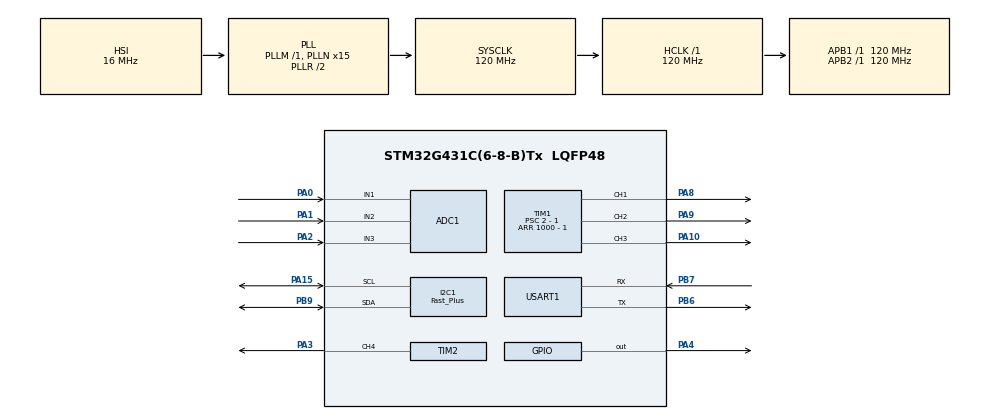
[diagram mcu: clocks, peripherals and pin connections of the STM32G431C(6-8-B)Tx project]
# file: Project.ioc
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ADC1.Channel-0\#ChannelRegularConversion=ADC_CHANNEL_1
ADC1.Channel-1\#ChannelRegularConversion=ADC_CHANNEL_2
ADC1.Channel-2\#ChannelRegularConversion=ADC_CHANNEL_3
ADC1.ClockPrescaler=ADC_CLOCK_SYNC_PCLK_DIV2
ADC1.DMAContinuousRequests=ENABLE
ADC1.EOCSelection=ADC_EOC_SINGLE_CONV
ADC1.ExternalTrigConv=ADC_EXTERNALTRIG_T1_TRGO
ADC1.NbrOfConversion=3
ADC1.NbrOfConversionFlag=1
ADC1.OffsetNumber-0\#ChannelRegularConversion=ADC_OFFSET_NONE
ADC1.OffsetNumber-1\#ChannelRegularConversion=ADC_OFFSET_NONE
ADC1.OffsetNumber-2\#ChannelRegularConversion=ADC_OFFSET_NONE
ADC1.Rank-0\#ChannelRegularConversion=1
ADC1.Rank-1\#ChannelRegularConversion=2
ADC1.Rank-2\#ChannelRegularConversion=3
ADC1.SamplingTime-0\#ChannelRegularConversion=ADC_SAMPLETIME_2CYCLES_5
ADC1.SamplingTime-1\#ChannelRegularConversion=ADC_SAMPLETIME_2CYCLES_5
ADC1.SamplingTime-2\#ChannelRegularConversion=ADC_SAMPLETIME_2CYCLES_5
ADC1.master=1
Dma.ADC1.1.Direction=DMA_PERIPH_TO_MEMORY
Dma.ADC1.1.EventEnable=DISABLE
Dma.ADC1.1.Instance=DMA1_Channel2
Dma.ADC1.1.MemDataAlignment=DMA_MDATAALIGN_WORD
Dma.ADC1.1.MemInc=DMA_MINC_ENABLE
Dma.ADC1.1.Mode=DMA_CIRCULAR
Dma.ADC1.1.PeriphDataAlignment=DMA_PDATAALIGN_WORD
Dma.ADC1.1.PeriphInc=DMA_PINC_DISABLE
Dma.ADC1.1.Polarity=HAL_DMAMUX_REQ_GEN_RISING
Dma.ADC1.1.Priority=DMA_PRIORITY_HIGH
Dma.ADC1.1.RequestNumber=1
Dma.ADC1.1.SignalID=NONE
Dma.ADC1.1.SyncEnable=DISABLE
Dma.ADC1.1.SyncPolarity=HAL_DMAMUX_SYNC_NO_EVENT
Dma.ADC1.1.SyncRequestNumber=1
Dma.ADC1.1.SyncSignalID=NONE
Dma.Request0=USART1_RX
Dma.Request1=ADC1
Dma.USART1_RX.0.Direction=DMA_PERIPH_TO_MEMORY
Dma.USART1_RX.0.EventEnable=DISABLE
Dma.USART1_RX.0.Instance=DMA1_Channel1
Dma.USART1_RX.0.MemDataAlignment=DMA_MDATAALIGN_BYTE
Dma.USART1_RX.0.MemInc=DMA_MINC_ENABLE
Dma.USART1_RX.0.Mode=DMA_CIRCULAR
Dma.USART1_RX.0.PeriphDataAlignment=DMA_PDATAALIGN_BYTE
Dma.USART1_RX.0.PeriphInc=DMA_PINC_DISABLE
Dma.USART1_RX.0.Polarity=HAL_DMAMUX_REQ_GEN_RISING
Dma.USART1_RX.0.Priority=DMA_PRIORITY_MEDIUM
Dma.USART1_RX.0.RequestNumber=1
Dma.USART1_RX.0.SignalID=NONE
Dma.USART1_RX.0.SyncEnable=DISABLE
Dma.USART1_RX.0.SyncPolarity=HAL_DMAMUX_SYNC_NO_EVENT
Dma.USART1_RX.0.SyncRequestNumber=1
Dma.USART1_RX.0.SyncSignalID=NONE
I2C1.I2C_Speed_Mode=I2C_Fast_Plus
I2C1.Timing=0x10820B1B
Mcu.Family=STM32G4
Mcu.Name=STM32G431C(6-8-B)Tx
Mcu.Package=LQFP48
NVIC.DMA1_Channel1_IRQn=true\:0\:0\:false\:false\:true\:false\:true\:true
NVIC.DMA1_Channel2_IRQn=true\:0\:0\:false\:false\:true\:false\:true\:true
NVIC.PriorityGroup=NVIC_PRIORITYGROUP_4
NVIC.TIM3_IRQn=true\:0\:0\:false\:false\:true\:true\:true\:true
NVIC.USART1_IRQn=true\:0\:0\:false\:false\:true\:true\:true\:true
PA0.Mode=IN1-Single-Ended
PA0.Signal=ADC1_IN1
PA1.Mode=IN2-Single-Ended
PA1.Signal=ADC1_IN2
PA10.Signal=S_TIM1_CH3
PA13.Mode=Serial_Wire
PA13.Signal=SYS_JTMS-SWDIO
PA14.Mode=Serial_Wire
PA14.Signal=SYS_JTCK-SWCLK
PA15.Mode=I2C
PA15.Signal=I2C1_SCL
PA2.Mode=IN3-Single-Ended
PA2.Signal=ADC1_IN3
PA3.Signal=S_TIM2_CH4
PA4.Signal=GPIO_Output
PA8.Signal=S_TIM1_CH1
PA9.Signal=S_TIM1_CH2
PB6.Mode=Asynchronous
PB6.Signal=USART1_TX
PB7.Mode=Asynchronous
PB7.Signal=USART1_RX
PB9.Mode=I2C
PB9.Signal=I2C1_SDA
ProjectManager.HeapSize=0x200
ProjectManager.StackSize=0x400
ProjectManager.TargetToolchain=MDK-ARM V5.32
RCC.ADC12Freq_Value=120000000
RCC.AHBFreq_Value=120000000
RCC.APB1Freq_Value=120000000
RCC.APB1TimFreq_Value=120000000
RCC.APB2Freq_Value=120000000
RCC.APB2TimFreq_Value=120000000
RCC.CortexFreq_Value=120000000
RCC.EXTERNAL_CLOCK_VALUE=12288000
RCC.HCLKFreq_Value=120000000
RCC.HSE_VALUE=8000000
RCC.HSI48_VALUE=48000000
RCC.HSI_VALUE=16000000
RCC.LSE_VALUE=32768
RCC.PLLN=15
RCC.SYSCLKFreq_VALUE=120000000
RCC.SYSCLKSource=RCC_SYSCLKSOURCE_PLLCLK
RCC.USBFreq_Value=120000000
RCC.VCOOutputFreq_Value=240000000
SH.S_TIM1_CH1.0=TIM1_CH1,PWM Generation1 CH1
SH.S_TIM1_CH2.0=TIM1_CH2,PWM Generation2 CH2
SH.S_TIM1_CH3.0=TIM1_CH3,PWM Generation3 CH3
SH.S_TIM2_CH4.0=TIM2_CH4,PWM Generation4 CH4
TIM1.Channel-PWM\ Generation1\ CH1=TIM_CHANNEL_1
TIM1.Channel-PWM\ Generation2\ CH2=TIM_CHANNEL_2
TIM1.Channel-PWM\ Generation3\ CH3=TIM_CHANNEL_3
TIM1.CounterMode=TIM_COUNTERMODE_CENTERALIGNED1
TIM1.PeriodNoDither=1000 - 1
TIM1.Prescaler=2 - 1
TIM1.TIM_MasterOutputTrigger=TIM_TRGO_UPDATE
TIM1.TIM_MasterSlaveMode=TIM_MASTERSLAVEMODE_DISABLE
TIM2.Channel-PWM\ Generation4\ CH4=TIM_CHANNEL_4
TIM2.PeriodNoDither=1000 - 1
TIM2.Prescaler=120 - 1
TIM3.PeriodNoDither=1000 - 1
TIM3.Prescaler=120 - 1
USART1.VirtualMode-Asynchronous=VM_ASYNC
VP_SYS_VS_DBSignals.Mode=DisableDeadBatterySignals
VP_TIM1_VS_ClockSourceINT.Mode=Internal
VP_TIM2_VS_ClockSourceINT.Mode=Internal
VP_TIM3_VS_ClockSourceINT.Mode=Internal
board=custom

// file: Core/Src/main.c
/* USER CODE BEGIN Header */
/**
  ******************************************************************************
  * @file           : main.c
  * @brief          : Main program body
  速度测量和滤波
  ******************************************************************************
  * @attention
  *
  * Copyright (c) 2026 STMicroelectronics.
  * All rights reserved.
  *
  * This software is licensed under terms that can be found in the LICENSE file
  * in the root directory of this software component.
  * If no LICENSE file comes with this software, it is provided AS-IS.
  *
  ******************************************************************************
  */
/* USER CODE END Header */
#include "main.h"
#include "adc.h"
#include "dma.h"
#include "i2c.h"
#include "tim.h"
#include "usart.h"
#include "gpio.h"

/* USER CODE BEGIN Includes */
#include <math.h>
#include "Driver.h"
#include "Encoder.h"
#include "Serial.h"
#include "PID.h"
#include "Beep.h"
#include "CurrentMeasure.h"
#include "Filter.h"

/* USER CODE END Includes */

void SystemClock_Config(void);

/* USER CODE BEGIN 0 */
float *rightangledCurrent, *phaseCurrent;
float I_d_actual, I_q_actual;
PID pid_I_d, pid_I_q;  // 电流环
float Kp = 6.0f, Ki = 0.0f, Kd = 0.0f, maxI = 6.0f, maxOut = 6.0f;
float speed = 0.0f;  // 测速变量

uint8_t led_state = 0;
// 电流从0.5A映射到电压的12V，所以Kp应该在24左右

/* USER CODE END 0 */

int main(void)
{

  /* MCU Configuration--------------------------------------------------------*/

  /* Reset of all peripherals, Initializes the Flash interface and the Systick. */
  HAL_Init();

  /* Configure the system clock */
  SystemClock_Config();

  /* Initialize all configured peripherals */
  MX_GPIO_Init();
  MX_DMA_Init();
  MX_TIM1_Init();
  MX_I2C1_Init();
  MX_USART1_UART_Init();
  MX_TIM2_Init();
  MX_ADC1_Init();
  MX_TIM3_Init();
  /* USER CODE BEGIN 2 */
  MAF filter_speed;
  Filter_MAF_Init(&filter_speed, 20);

  HAL_TIM_Base_Start_IT(&htim3);
  Serial_Init();   // 初始化串口
  Driver_Init();
//  Encoder_Init();  // 对轴操作
//  CurrentMeasure_Init();

//  PID_Init(&pid_I_d, Kp, Ki, Kd, maxI, maxOut);
//  PID_Init(&pid_I_q, Kp, Ki, Kd, maxI, maxOut);
  /* USER CODE END 2 */

  /* Infinite loop */
  /* USER CODE BEGIN WHILE */
  while (1)
  {
	  Driver_SetVelocityOL(10.0f, 3.0f);
	  float speed_filted = Filter_MAF_Update(&filter_speed, speed);
	  VOFA_SendData(speed_filted, 0.0, 0.0, 0.0);
//	// 上位机发送dq指令
//	static float data;
//	static char type;
//	static float I_d_desire = 0, I_q_desire = 0;
//	VOFA_GetData(&data, &type);
//	if (type == 'd') {
//		I_d_desire = data;
//	}
//	else if (type == 'q') {
//		I_q_desire = data;
//	}

//	// 获得dq轴电流
//	rightangledCurrent = CurrentMeasure_GetRightangledCurrent();
//	I_d_actual = rightangledCurrent[0];
//	I_q_actual = rightangledCurrent[1];
	// 获得abc三相电流
//	phaseCurrent = CurrentMeasure_GetPhaseCurrent();

//	// 电流环
//	PID_inc_Calc(&pid_I_d, I_d_desire, rightangledCurrent[0]);
//	PID_inc_Calc(&pid_I_q, I_q_desire, rightangledCurrent[1]);
//	float e_angle = Encoder_GetAngleNoTrack() * 7;
//	Driver_SetRightangledVoltage(pid_I_d.output, pid_I_q.output, e_angle);

//	// 测试开始
//	HAL_GPIO_WritePin(GPIOA, GPIO_PIN_4, led_state);
//	led_state = !led_state;
//	// 测试结束

//	// 串口发送四个电流（把这句注释好像可以达到意想不到的效果）
//	VOFA_SendData(I_d_desire, rightangledCurrent[0], I_q_desire, rightangledCurrent[1]);
//	VOFA_SendData(phaseCurrent[0], phaseCurrent[1], phaseCurrent[2], 0.0f);

    /* USER CODE END WHILE */

  }
}

void SystemClock_Config(void)
{
  RCC_OscInitTypeDef RCC_OscInitStruct = {0};
  RCC_ClkInitTypeDef RCC_ClkInitStruct = {0};

  /** Configure the main internal regulator output voltage
  */
  HAL_PWREx_ControlVoltageScaling(PWR_REGULATOR_VOLTAGE_SCALE1);

  /** Initializes the RCC Oscillators according to the specified parameters
  * in the RCC_OscInitTypeDef structure.
  */
  RCC_OscInitStruct.OscillatorType = RCC_OSCILLATORTYPE_HSI;
  RCC_OscInitStruct.HSIState = RCC_HSI_ON;
  RCC_OscInitStruct.HSICalibrationValue = RCC_HSICALIBRATION_DEFAULT;
  RCC_OscInitStruct.PLL.PLLState = RCC_PLL_ON;
  RCC_OscInitStruct.PLL.PLLSource = RCC_PLLSOURCE_HSI;
  RCC_OscInitStruct.PLL.PLLM = RCC_PLLM_DIV1;
  RCC_OscInitStruct.PLL.PLLN = 15;
  RCC_OscInitStruct.PLL.PLLP = RCC_PLLP_DIV2;
  RCC_OscInitStruct.PLL.PLLQ = RCC_PLLQ_DIV2;
  RCC_OscInitStruct.PLL.PLLR = RCC_PLLR_DIV2;
  if (HAL_RCC_OscConfig(&RCC_OscInitStruct) != HAL_OK)
  {
    Error_Handler();
  }

  /** Initializes the CPU, AHB and APB buses clocks
  */
  RCC_ClkInitStruct.ClockType = RCC_CLOCKTYPE_HCLK|RCC_CLOCKTYPE_SYSCLK
                              |RCC_CLOCKTYPE_PCLK1|RCC_CLOCKTYPE_PCLK2;
  RCC_ClkInitStruct.SYSCLKSource = RCC_SYSCLKSOURCE_PLLCLK;
  RCC_ClkInitStruct.AHBCLKDivider = RCC_SYSCLK_DIV1;
  RCC_ClkInitStruct.APB1CLKDivider = RCC_HCLK_DIV1;
  RCC_ClkInitStruct.APB2CLKDivider = RCC_HCLK_DIV1;

  if (HAL_RCC_ClockConfig(&RCC_ClkInitStruct, FLASH_LATENCY_3) != HAL_OK)
  {
    Error_Handler();
  }
}

/* USER CODE BEGIN 4 */
void HAL_TIM_PeriodElapsedCallback(TIM_HandleTypeDef *htim) {
	speed = Encoder_GetVelocity(1000);
}

/* USER CODE END 4 */

void Error_Handler(void)
{
  __disable_irq();
  while (1)
  {
  }
}
